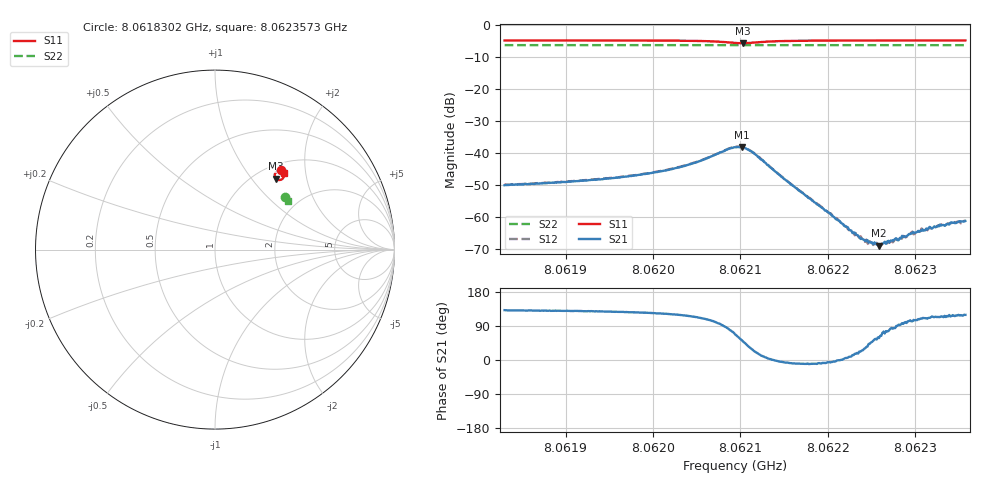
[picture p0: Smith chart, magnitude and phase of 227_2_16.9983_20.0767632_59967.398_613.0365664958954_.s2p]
#  HZ  S  RI  R  50.00
! Rohde & Schwarz Vector Network Analyzer
! Rohde-Schwarz,ZNB20-2Port,1311601062101988,3.16
! Created: UTC 3/20/2024, 11:02:13 PM
! freq[Hz]  re:S11  im:S11  re:S21  im:S21  re:S12  im:S12  re:S22  im:S22
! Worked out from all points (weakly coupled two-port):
!   401 points, 8.0618302 GHz to 8.0623573 GHz, reference 50 ohm
!   highest |S21| = -38.04 dB at 8.0621017 GHz (marker M1); lowest = -68.8 dB at 8.0622585 GHz (marker M2)
!   lowest |S11| = -5.7 dB at 8.062103 GHz (marker M3), VSWR 3.18, Z = 61.5 + j66.8 ohm
!   |S11| at or under -10 dB: nowhere
!   |S22| runs from -6.3 to -6.2 dB; largest |S21 - S12| = 0.00099
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8.06183021e9  0.3657 0.4448  -0.0021 0.00237  -0.00194 0.00257  0.3875 0.2954
8.0619185e9  0.3723 0.4389  -0.00234 0.00288  -0.00219 0.00304  0.3905 0.291
8.06196067e9  0.3759 0.4349  -0.00252 0.00334  -0.0023 0.0035  0.3918 0.2889
8.06200679e9  0.3802 0.4288  -0.0028 0.00435  -0.00258 0.00452  0.3935 0.2863
8.06204764e9  0.3842 0.4173  -0.00288 0.00647  -0.0025 0.00671  0.3948 0.2841
8.06208586e9  0.3702 0.3903  0.00141 0.0115  0.00221 0.0115  0.395 0.2813
8.06209376e9  0.3568 0.3876  0.00467 0.0115  0.00532 0.0113  0.3945 0.2811
8.06210167e9  0.3421 0.3936  0.00776 0.00985  0.00837 0.00934  0.3943 0.2811
8.06210299e9  0.34 0.3954  0.00811 0.00925  0.00871 0.00876  0.3941 0.2812
8.06211616e9  0.3331 0.4185  0.00899 0.00377  0.00932 0.00332  0.3947 0.2818
8.06214779e9  0.3536 0.439  0.0042 -0.000379  0.00423 -0.000664  0.397 0.2809
8.06218205e9  0.3662 0.4387  0.0018 -0.000321  0.0018 -0.000452  0.3986 0.2789
8.06222686e9  0.3744 0.4354  0.000613 0.000101  0.000602 8e-05  0.4003 0.2766
8.06223872e9  0.3759 0.4346  0.000422 0.000195  0.00045 0.000144  0.4006 0.2761
8.06224399e9  0.3764 0.4343  0.000357 0.000243  0.000377 0.000243  0.4009 0.2758
8.06225189e9  0.3774 0.4337  0.00024 0.000295  0.00025 0.000273  0.4012 0.2752
8.06225848e9  0.3781 0.4333  0.000193 0.000306  0.000217 0.000306  0.4014 0.2749
8.06227034e9  0.3794 0.4324  7.57e-05 0.000398  9.06e-05 0.000407  0.4018 0.2745
8.06229406e9  0.3815 0.431  -0.000139 0.00053  -0.000126 0.000534  0.4026 0.2732
8.06230987e9  0.3828 0.43  -0.000218 0.000584  -0.000152 0.000601  0.4028 0.2724
8.06234282e9  0.3853 0.4279  -0.00039 0.00072  -0.00031 0.000767  0.4041 0.2707
8.06235731e9  0.3865 0.4272  -0.000427 0.000765  -0.000398 0.00079  0.4046 0.2699
